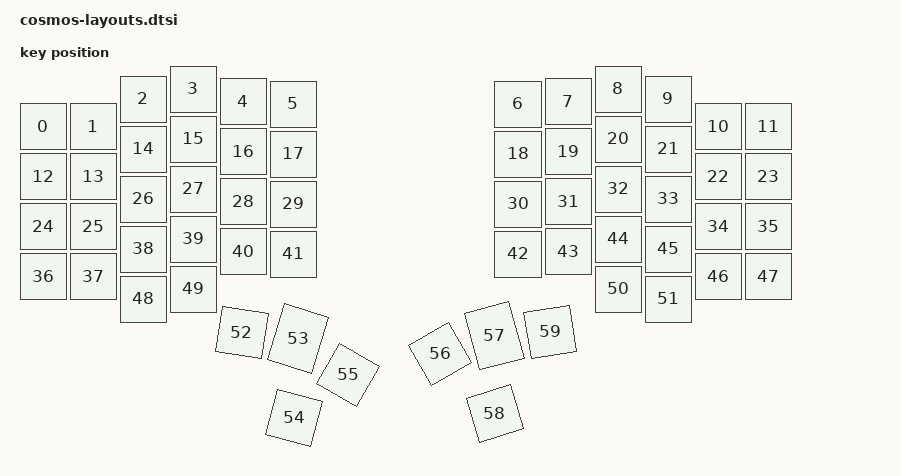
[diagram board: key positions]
#include <physical_layouts.dtsi>

/ {
    default_layout: default_layout {
        compatible = "zmk,physical-layout";
        display-name = "Default Layout";
        transform = <&default_transform>;
        kscan = <&kscan0>;

        keys  //                     w   h    x    y     rot    rx    ry
            = <&key_physical_attrs 100 100    0   75       0     0     0>
            , <&key_physical_attrs 100 100  100   75       0     0     0>
            , <&key_physical_attrs 100 100  200   20       0     0     0>
            , <&key_physical_attrs 100 100  300    0       0     0     0>
            , <&key_physical_attrs 100 100  400   25       0     0     0>
            , <&key_physical_attrs 100 100  500   30       0     0     0>
            , <&key_physical_attrs 100 100  950   30       0     0     0>
            , <&key_physical_attrs 100 100 1050   25       0     0     0>
            , <&key_physical_attrs 100 100 1150    0       0     0     0>
            , <&key_physical_attrs 100 100 1250   20       0     0     0>
            , <&key_physical_attrs 100 100 1350   75       0     0     0>
            , <&key_physical_attrs 100 100 1450   75       0     0     0>
            , <&key_physical_attrs 100 100    0  175       0     0     0>
            , <&key_physical_attrs 100 100  100  175       0     0     0>
            , <&key_physical_attrs 100 100  200  120       0     0     0>
            , <&key_physical_attrs 100 100  300  100       0     0     0>
            , <&key_physical_attrs 100 100  400  125       0     0     0>
            , <&key_physical_attrs 100 100  500  130       0     0     0>
            , <&key_physical_attrs 100 100  950  130       0     0     0>
            , <&key_physical_attrs 100 100 1050  125       0     0     0>
            , <&key_physical_attrs 100 100 1150  100       0     0     0>
            , <&key_physical_attrs 100 100 1250  120       0     0     0>
            , <&key_physical_attrs 100 100 1350  175       0     0     0>
            , <&key_physical_attrs 100 100 1450  175       0     0     0>
            , <&key_physical_attrs 100 100    0  275       0     0     0>
            , <&key_physical_attrs 100 100  100  275       0     0     0>
            , <&key_physical_attrs 100 100  200  220       0     0     0>
            , <&key_physical_attrs 100 100  300  200       0     0     0>
            , <&key_physical_attrs 100 100  400  225       0     0     0>
            , <&key_physical_attrs 100 100  500  230       0     0     0>
            , <&key_physical_attrs 100 100  950  230       0     0     0>
            , <&key_physical_attrs 100 100 1050  225       0     0     0>
            , <&key_physical_attrs 100 100 1150  200       0     0     0>
            , <&key_physical_attrs 100 100 1250  220       0     0     0>
            , <&key_physical_attrs 100 100 1350  275       0     0     0>
            , <&key_physical_attrs 100 100 1450  275       0     0     0>
            , <&key_physical_attrs 100 100    0  375       0     0     0>
            , <&key_physical_attrs 100 100  100  375       0     0     0>
            , <&key_physical_attrs 100 100  200  320       0     0     0>
            , <&key_physical_attrs 100 100  300  300       0     0     0>
            , <&key_physical_attrs 100 100  400  325       0     0     0>
            , <&key_physical_attrs 100 100  500  330       0     0     0>
            , <&key_physical_attrs 100 100  950  330       0     0     0>
            , <&key_physical_attrs 100 100 1050  325       0     0     0>
            , <&key_physical_attrs 100 100 1150  300       0     0     0>
            , <&key_physical_attrs 100 100 1250  320       0     0     0>
            , <&key_physical_attrs 100 100 1350  375       0     0     0>
            , <&key_physical_attrs 100 100 1450  375       0     0     0>
            , <&key_physical_attrs 100 100  200  420       0     0     0>
            , <&key_physical_attrs 100 100  300  400       0     0     0>
            , <&key_physical_attrs 100 100 1150  400       0     0     0>
            , <&key_physical_attrs 100 100 1250  420       0     0     0>
            , <&key_physical_attrs 100 100  450  475     900   400   200>
            , <&key_physical_attrs 100 125  550  455    1700   475   400>
            , <&key_physical_attrs 100 100  550  605    1500   375   500>
            , <&key_physical_attrs 100 100  650  475    3000   500   500>
            , <&key_physical_attrs 100 100  900  475 (-3000)  1000   750>
            , <&key_physical_attrs 100 125 1000  455 (-1500)  1100   900>
            , <&key_physical_attrs 100 100 1000  605 (-1700)  1150  1000>
            , <&key_physical_attrs 100 100 1090  455  (-900)  1300  1000>
            ;
    };
};
